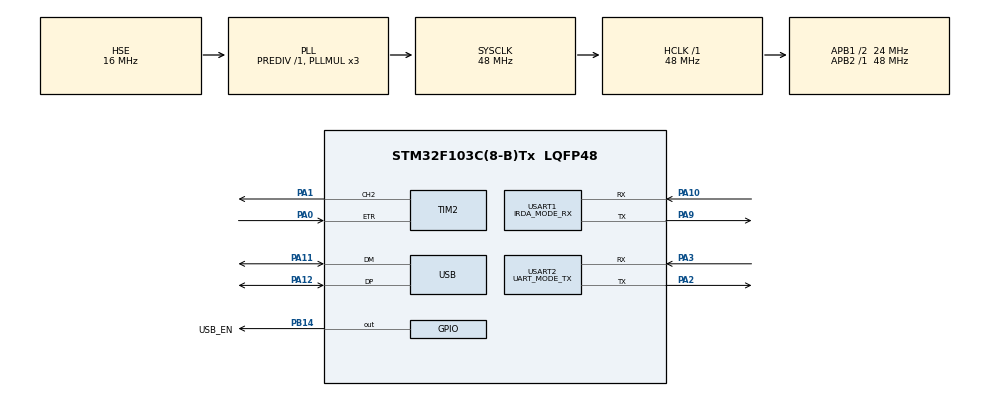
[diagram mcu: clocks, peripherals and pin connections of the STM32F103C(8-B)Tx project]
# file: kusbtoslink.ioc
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Dma.Request0=USART1_RX
Dma.USART1_RX.0.Direction=DMA_PERIPH_TO_MEMORY
Dma.USART1_RX.0.Instance=DMA1_Channel5
Dma.USART1_RX.0.MemDataAlignment=DMA_MDATAALIGN_WORD
Dma.USART1_RX.0.MemInc=DMA_MINC_ENABLE
Dma.USART1_RX.0.Mode=DMA_CIRCULAR
Dma.USART1_RX.0.PeriphDataAlignment=DMA_PDATAALIGN_WORD
Dma.USART1_RX.0.PeriphInc=DMA_PINC_DISABLE
Dma.USART1_RX.0.Priority=DMA_PRIORITY_LOW
Mcu.Family=STM32F1
Mcu.Name=STM32F103C(8-B)Tx
Mcu.Package=LQFP48
NVIC.DMA1_Channel5_IRQn=true\:0\:0\:false\:false\:true\:true
NVIC.PriorityGroup=NVIC_PRIORITYGROUP_4
NVIC.USART1_IRQn=true\:0\:0\:false\:false\:true\:true
NVIC.USB_LP_CAN1_RX0_IRQn=true\:0\:0\:false\:false\:true\:true
PA0-WKUP.Signal=S_TIM2_CH1_ETR
PA1.Signal=S_TIM2_CH2
PA10.Mode=IrDA
PA10.Signal=USART1_RX
PA11.Mode=Device
PA11.Signal=USB_DM
PA12.Mode=Device
PA12.Signal=USB_DP
PA2.Mode=Asynchronous
PA2.Signal=USART2_TX
PA3.Mode=Asynchronous
PA3.Signal=USART2_RX
PA9.Mode=IrDA
PA9.Signal=USART1_TX
PB14.GPIO_Label=USB_EN
PB14.Signal=GPIO_Output
PD0-OSC_IN.Mode=HSE-External-Oscillator
PD0-OSC_IN.Signal=RCC_OSC_IN
PD1-OSC_OUT.Mode=HSE-External-Oscillator
PD1-OSC_OUT.Signal=RCC_OSC_OUT
ProjectManager.HeapSize=0x200
ProjectManager.StackSize=0x400
ProjectManager.TargetToolchain=MDK-ARM V5
RCC.AHBFreq_Value=48000000
RCC.APB1CLKDivider=RCC_HCLK_DIV2
RCC.APB1Freq_Value=24000000
RCC.APB1TimFreq_Value=48000000
RCC.APB2Freq_Value=48000000
RCC.APB2TimFreq_Value=48000000
RCC.HCLKFreq_Value=48000000
RCC.HSE_VALUE=16000000
RCC.PLLMUL=RCC_PLL_MUL3
RCC.PLLSourceVirtual=RCC_PLLSOURCE_HSE
RCC.SYSCLKFreq_VALUE=48000000
RCC.SYSCLKSource=RCC_SYSCLKSOURCE_PLLCLK
RCC.USBFreq_Value=48000000
SH.S_TIM2_CH1_ETR.0=TIM2_ETR,TriggerSource_ETR
SH.S_TIM2_CH2.0=TIM2_CH2,PWM Generation2 CH2
TIM2.Channel-PWM\ Generation2\ CH2=TIM_CHANNEL_2
USART1.Mode=IRDA_MODE_RX
USART1.VirtualMode=VM_IRDA
USART2.Mode=UART_MODE_TX
USART2.VirtualMode=VM_ASYNC
USB_DEVICE.CLASS_NAME_FS=CDC
USB_DEVICE.USBD_HandleTypeDef=hUsbDeviceFS
USB_DEVICE.VirtualMode=Cdc
USB_DEVICE.VirtualModeFS=Cdc_FS
VP_TIM2_VS_ControllerModeGated.Mode=Gated Mode
VP_USB_DEVICE_VS_USB_DEVICE_CDC_FS.Mode=CDC_FS
board=kusbtoslink

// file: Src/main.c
/**
  ******************************************************************************
  * File Name          : main.c
  * Description        : Main program body
  ******************************************************************************
  *
  * COPYRIGHT(c) 2017 STMicroelectronics
  *
  * Redistribution and use in source and binary forms, with or without modification,
  * are permitted provided that the following conditions are met:
  *   1. Redistributions of source code must retain the above copyright notice,
  *      this list of conditions and the following disclaimer.
  *   2. Redistributions in binary form must reproduce the above copyright notice,
  *      this list of conditions and the following disclaimer in the documentation
  *      and/or other materials provided with the distribution.
  *   3. Neither the name of STMicroelectronics nor the names of its contributors
  *      may be used to endorse or promote products derived from this software
  *      without specific prior written permission.
  *
  * THIS SOFTWARE IS PROVIDED BY THE COPYRIGHT HOLDERS AND CONTRIBUTORS "AS IS"
  * AND ANY EXPRESS OR IMPLIED WARRANTIES, INCLUDING, BUT NOT LIMITED TO, THE
  * IMPLIED WARRANTIES OF MERCHANTABILITY AND FITNESS FOR A PARTICULAR PURPOSE ARE
  * DISCLAIMED. IN NO EVENT SHALL THE COPYRIGHT HOLDER OR CONTRIBUTORS BE LIABLE
  * FOR ANY DIRECT, INDIRECT, INCIDENTAL, SPECIAL, EXEMPLARY, OR CONSEQUENTIAL
  * DAMAGES (INCLUDING, BUT NOT LIMITED TO, PROCUREMENT OF SUBSTITUTE GOODS OR
  * SERVICES; LOSS OF USE, DATA, OR PROFITS; OR BUSINESS INTERRUPTION) HOWEVER
  * CAUSED AND ON ANY THEORY OF LIABILITY, WHETHER IN CONTRACT, STRICT LIABILITY,
  * OR TORT (INCLUDING NEGLIGENCE OR OTHERWISE) ARISING IN ANY WAY OUT OF THE USE
  * OF THIS SOFTWARE, EVEN IF ADVISED OF THE POSSIBILITY OF SUCH DAMAGE.
  *
  ******************************************************************************
  */
#include "stm32f1xx_hal.h"
#include "usb_device.h"

/* USER CODE BEGIN Includes */
#include "usbd_cdc_if.h"
#include "toslink.h"
/* USER CODE END Includes */

TIM_HandleTypeDef htim2;

IRDA_HandleTypeDef hirda1;
UART_HandleTypeDef huart2;
DMA_HandleTypeDef hdma_usart1_rx;

/* USER CODE BEGIN PV */
/* Private variables ---------------------------------------------------------*/
#define DBUFSZ	(16)
uint8_t dbuf[DBUFSZ];
volatile uint8_t half = 0;
volatile uint8_t full = 0;
/* USER CODE END PV */

void SystemClock_Config(void);
static void MX_GPIO_Init(void);
static void MX_DMA_Init(void);
static void MX_TIM2_Init(void);
static void MX_USART1_IRDA_Init(void);
static void MX_USART2_UART_Init(void);

void HAL_TIM_MspPostInit(TIM_HandleTypeDef *htim);

/* USER CODE BEGIN PFP */
/* Private function prototypes -----------------------------------------------*/

/* USER CODE END PFP */

/* USER CODE BEGIN 0 */
void HAL_IRDA_RxHalfCpltCallback(IRDA_HandleTypeDef *hirda){half=1;}
void HAL_IRDA_RxFullCpltCallback(IRDA_HandleTypeDef *hirda){full=1;}
/* USER CODE END 0 */

int main(void)
{

  /* MCU Configuration----------------------------------------------------------*/

  /* Reset of all peripherals, Initializes the Flash interface and the Systick. */
  HAL_Init();

  /* Configure the system clock */
  SystemClock_Config();

  /* Initialize all configured peripherals */
  MX_GPIO_Init();
  MX_DMA_Init();
  MX_TIM2_Init();
  MX_USART1_IRDA_Init();
  MX_USART2_UART_Init();
  MX_USB_DEVICE_Init();

  /* USER CODE BEGIN 2 */
  MX_USB_DEVICE_Init();
	HAL_GPIO_WritePin(USB_EN_GPIO_Port, USB_EN_Pin, GPIO_PIN_RESET);
	HAL_Delay(1000);
	CDC_Transmit_FS("\0\0\0\0",4);
		HAL_IRDA_Receive_DMA(&hirda1,(uint8_t*)dbuf,DBUFSZ);
  /* USER CODE END 2 */

  /* Infinite loop */
  /* USER CODE BEGIN WHILE */
	uint32_t old = 0;
  while (1)
  {
  /* USER CODE END WHILE */

  /* USER CODE BEGIN 3 */
	//CDC_Transmit_FS("tst\n",4);
		//if(HAL_GetTick()-old > 1000){CDC_Transmit_FS("\0\0\0\0",4); old = HAL_GetTick();}
		if(half) {CDC_Transmit_FS(dbuf,(DBUFSZ/2)); half=0;}
		if(full) {CDC_Transmit_FS((&dbuf[DBUFSZ/2]),(DBUFSZ/2));full = 0;}
		//HAL_Delay(1000);
  }
  /* USER CODE END 3 */

}

/** System Clock Configuration
*/
void SystemClock_Config(void)
{

  RCC_OscInitTypeDef RCC_OscInitStruct;
  RCC_ClkInitTypeDef RCC_ClkInitStruct;
  RCC_PeriphCLKInitTypeDef PeriphClkInit;

  RCC_OscInitStruct.OscillatorType = RCC_OSCILLATORTYPE_HSE;
  RCC_OscInitStruct.HSEState = RCC_HSE_ON;
  RCC_OscInitStruct.HSEPredivValue = RCC_HSE_PREDIV_DIV1;
  RCC_OscInitStruct.PLL.PLLState = RCC_PLL_ON;
  RCC_OscInitStruct.PLL.PLLSource = RCC_PLLSOURCE_HSE;
  RCC_OscInitStruct.PLL.PLLMUL = RCC_PLL_MUL3;
  HAL_RCC_OscConfig(&RCC_OscInitStruct);

  RCC_ClkInitStruct.ClockType = RCC_CLOCKTYPE_HCLK|RCC_CLOCKTYPE_SYSCLK
                              |RCC_CLOCKTYPE_PCLK1|RCC_CLOCKTYPE_PCLK2;
  RCC_ClkInitStruct.SYSCLKSource = RCC_SYSCLKSOURCE_PLLCLK;
  RCC_ClkInitStruct.AHBCLKDivider = RCC_SYSCLK_DIV1;
  RCC_ClkInitStruct.APB1CLKDivider = RCC_HCLK_DIV2;
  RCC_ClkInitStruct.APB2CLKDivider = RCC_HCLK_DIV1;
  HAL_RCC_ClockConfig(&RCC_ClkInitStruct, FLASH_LATENCY_1);

  PeriphClkInit.PeriphClockSelection = RCC_PERIPHCLK_USB;
  PeriphClkInit.UsbClockSelection = RCC_USBCLKSOURCE_PLL;
  HAL_RCCEx_PeriphCLKConfig(&PeriphClkInit);

  HAL_SYSTICK_Config(HAL_RCC_GetHCLKFreq()/1000);

  HAL_SYSTICK_CLKSourceConfig(SYSTICK_CLKSOURCE_HCLK);

  /* SysTick_IRQn interrupt configuration */
  HAL_NVIC_SetPriority(SysTick_IRQn, 0, 0);
}

/* TIM2 init function */
void MX_TIM2_Init(void)
{

  TIM_SlaveConfigTypeDef sSlaveConfig;
  TIM_MasterConfigTypeDef sMasterConfig;
  TIM_OC_InitTypeDef sConfigOC;

  htim2.Instance = TIM2;
  htim2.Init.Prescaler = 0;
  htim2.Init.CounterMode = TIM_COUNTERMODE_UP;
  htim2.Init.Period = 0;
  htim2.Init.ClockDivision = TIM_CLOCKDIVISION_DIV1;
  HAL_TIM_Base_Init(&htim2);

  HAL_TIM_PWM_Init(&htim2);

  sSlaveConfig.SlaveMode = TIM_SLAVEMODE_GATED;
  sSlaveConfig.InputTrigger = TIM_TS_ETRF;
  sSlaveConfig.TriggerPolarity = TIM_TRIGGERPOLARITY_NONINVERTED;
  sSlaveConfig.TriggerPrescaler = TIM_TRIGGERPRESCALER_DIV1;
  sSlaveConfig.TriggerFilter = 0;
  HAL_TIM_SlaveConfigSynchronization(&htim2, &sSlaveConfig);

  sMasterConfig.MasterOutputTrigger = TIM_TRGO_RESET;
  sMasterConfig.MasterSlaveMode = TIM_MASTERSLAVEMODE_DISABLE;
  HAL_TIMEx_MasterConfigSynchronization(&htim2, &sMasterConfig);

  sConfigOC.OCMode = TIM_OCMODE_PWM1;
  sConfigOC.Pulse = 0;
  sConfigOC.OCPolarity = TIM_OCPOLARITY_HIGH;
  sConfigOC.OCFastMode = TIM_OCFAST_DISABLE;
  HAL_TIM_PWM_ConfigChannel(&htim2, &sConfigOC, TIM_CHANNEL_2);

  HAL_TIM_MspPostInit(&htim2);

}

/* USART1 init function */
void MX_USART1_IRDA_Init(void)
{

  hirda1.Instance = USART1;
  hirda1.Init.BaudRate = 1000000;
  hirda1.Init.WordLength = IRDA_WORDLENGTH_8B;
  hirda1.Init.Parity = IRDA_PARITY_NONE;
  hirda1.Init.Mode = IRDA_MODE_RX;
  hirda1.Init.Prescaler = 1;
  hirda1.Init.IrDAMode = IRDA_POWERMODE_NORMAL;
  HAL_IRDA_Init(&hirda1);

}

/* USART2 init function */
void MX_USART2_UART_Init(void)
{

  huart2.Instance = USART2;
  huart2.Init.BaudRate = 115200;
  huart2.Init.WordLength = UART_WORDLENGTH_8B;
  huart2.Init.StopBits = UART_STOPBITS_1;
  huart2.Init.Parity = UART_PARITY_NONE;
  huart2.Init.Mode = UART_MODE_TX;
  huart2.Init.HwFlowCtl = UART_HWCONTROL_NONE;
  huart2.Init.OverSampling = UART_OVERSAMPLING_16;
  HAL_UART_Init(&huart2);

}

void MX_DMA_Init(void)
{
  /* DMA controller clock enable */
  __HAL_RCC_DMA1_CLK_ENABLE();

  /* DMA interrupt init */
  /* DMA1_Channel5_IRQn interrupt configuration */
  HAL_NVIC_SetPriority(DMA1_Channel5_IRQn, 0, 0);
  HAL_NVIC_EnableIRQ(DMA1_Channel5_IRQn);

}

/** Configure pins as
        * Analog
        * Input
        * Output
        * EVENT_OUT
        * EXTI
*/
void MX_GPIO_Init(void)
{

  GPIO_InitTypeDef GPIO_InitStruct;

  /* GPIO Ports Clock Enable */
  __HAL_RCC_GPIOD_CLK_ENABLE();
  __HAL_RCC_GPIOA_CLK_ENABLE();
  __HAL_RCC_GPIOB_CLK_ENABLE();

  /*Configure GPIO pin Output Level */
  HAL_GPIO_WritePin(USB_EN_GPIO_Port, USB_EN_Pin, GPIO_PIN_RESET);

  /*Configure GPIO pin : USB_EN_Pin */
  GPIO_InitStruct.Pin = USB_EN_Pin;
  GPIO_InitStruct.Mode = GPIO_MODE_OUTPUT_PP;
  GPIO_InitStruct.Speed = GPIO_SPEED_FREQ_LOW;
  HAL_GPIO_Init(USB_EN_GPIO_Port, &GPIO_InitStruct);

}

/************************ (C) COPYRIGHT STMicroelectronics *****END OF FILE****/
